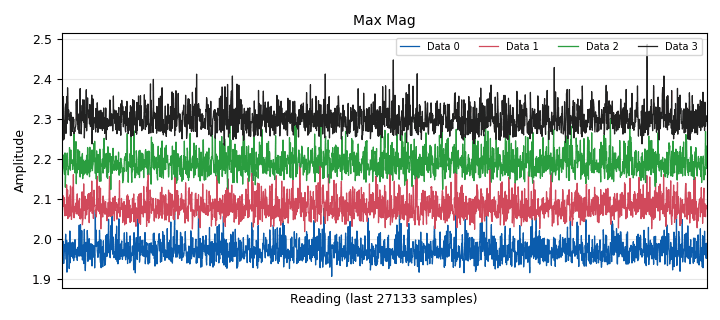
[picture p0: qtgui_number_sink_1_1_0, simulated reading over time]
options:
  parameters:
    generate_options: qt_gui
    id: run_mag_equalization_on_music_acc_4rx_2_source_eval
    output_language: python
    title: Magnitude equalization effects on accuracy of MUSIC algorithm 4 RX, 2 SRC
  states: {}

blocks:
- name: MAV_length
  id: variable
  parameters:
    value: int(1e7)
  states: {}
- name: NormSpacing
  id: variable
  parameters:
    value: '0.5'
  states: {}
- name: NumArrayElements
  id: variable
  parameters:
    value: '4'
  states: {}
- name: NumTargets
  id: variable
  parameters:
    value: '2'
  states: {}
- name: amv0
  id: variable
  parameters:
    value: numpy.exp(-1j*ant_locs*2*numpy.pi*numpy.cos(theta0))
  states: {}
- name: amv1
  id: variable
  parameters:
    value: numpy.exp(-1j*ant_locs*2*numpy.pi*numpy.cos(theta1))
  states: {}
- name: ant_locs
  id: variable
  parameters:
    value: numpy.dot(NormSpacing, numpy.arange(NumArrayElements/2, -NumArrayElements/2, -1) if (NumArrayElements%2==1) else numpy.arange(NumArrayElements/2-0.5, -NumArrayElements/2-0.5, -1))
  states: {}
- name: array_manifold_matrix
  id: variable
  parameters:
    value: numpy.array([amv0, amv1]).transpose()
  states: {}
- name: mag_diff_1
  id: variable_qtgui_range
  parameters:
    gui_hint: qtgui_tab_widget_0@0
    label: Node 1 mag
    min_len: '100'
    orient: Qt.Horizontal
    start: '0.5'
    step: '0.01'
    stop: '1.5'
    value: '0.9'
  states: {}
- name: mag_diff_2
  id: variable_qtgui_range
  parameters:
    gui_hint: qtgui_tab_widget_0@0
    label: Node 2 mag
    min_len: '100'
    orient: Qt.Horizontal
    start: '0.5'
    step: '0.01'
    stop: '1.5'
    value: '0.95'
  states: {}
- name: mag_diff_3
  id: variable_qtgui_range
  parameters:
    gui_hint: qtgui_tab_widget_0@0
    label: Node 3 mag
    min_len: '100'
    orient: Qt.Horizontal
    start: '0.5'
    step: '0.01'
    stop: '1.5'
    value: '1'
  states: {}
- name: mag_diff_4
  id: variable_qtgui_range
  parameters:
    gui_hint: qtgui_tab_widget_0@0
    label: Node 4 mag
    min_len: '100'
    orient: Qt.Horizontal
    start: '0.5'
    step: '0.01'
    stop: '1.5'
    value: '1.05'
  states: {}
- name: max_vec_s
  id: variable
  parameters:
    value: '2048'
  states: {}
- name: noise_ampl
  id: variable_qtgui_range
  parameters:
    gui_hint: qtgui_tab_widget_0@0
    label: Noise amplitude
    orient: Qt.Horizontal
    start: '0.01'
    step: '0.01'
    stop: '1'
    value: '0.1'
  states: {}
- name: samp_rate
  id: variable
  parameters:
    value: 1e6
  states: {}
- name: theta0
  id: variable
  parameters:
    value: numpy.pi*theta0_deg/180
  states: {}
- name: theta0_deg
  id: variable_qtgui_range
  parameters:
    gui_hint: qtgui_tab_widget_0@0
    label: AoA 1
    orient: Qt.Horizontal
    start: '0'
    step: '1'
    stop: '180'
    value: '87'
  states: {}
- name: theta1
  id: variable
  parameters:
    value: numpy.pi*theta1_deg/180
  states: {}
- name: theta1_deg
  id: variable_qtgui_range
  parameters:
    gui_hint: qtgui_tab_widget_0@0
    label: AoA 2
    orient: Qt.Horizontal
    start: '0'
    step: '1'
    stop: '180'
    value: '93'
  states: {}
- name: analog_const_source_x_0
  id: analog_const_source_x
  parameters:
    const: '0.0'
    type: float
  states: {}
- name: analog_noise_source_x_0
  id: analog_noise_source_x
  parameters:
    amp: noise_ampl
    noise_type: analog.GR_GAUSSIAN
    seed: '972353'
    type: complex
  states: {}
- name: analog_noise_source_x_1
  id: analog_noise_source_x
  parameters:
    amp: noise_ampl
    noise_type: analog.GR_GAUSSIAN
    seed: '3135154'
    type: complex
  states: {}
- name: analog_noise_source_x_1_0
  id: analog_noise_source_x
  parameters:
    amp: noise_ampl
    noise_type: analog.GR_GAUSSIAN
    seed: '55334'
    type: complex
  states: {}
- name: analog_noise_source_x_1_0_0
  id: analog_noise_source_x
  parameters:
    amp: noise_ampl
    noise_type: analog.GR_GAUSSIAN
    seed: '1242455334'
    type: complex
  states: {}
- name: analog_sig_source_x_0
  id: analog_sig_source_x
  parameters:
    amp: '1'
    freq: '10E+3'
    offset: '0'
    phase: '0'
    samp_rate: samp_rate
    type: complex
    waveform: analog.GR_COS_WAVE
  states: {}
- name: analog_sig_source_x_0_0
  id: analog_sig_source_x
  parameters:
    amp: '1'
    freq: '30E+3'
    offset: '0'
    phase: '0'
    samp_rate: samp_rate
    type: complex
    waveform: analog.GR_COS_WAVE
  states: {}
- name: aoa_MUSIC_lin_array_0
  id: aoa_MUSIC_lin_array
  parameters:
    norm_spacing: NormSpacing
    num_inputs: NumArrayElements
    num_targets: NumTargets
    pspectrum_len: '1024'
  states: {}
- name: aoa_MUSIC_lin_array_0_0
  id: aoa_MUSIC_lin_array
  parameters:
    norm_spacing: NormSpacing
    num_inputs: NumArrayElements
    num_targets: NumTargets
    pspectrum_len: '1024'
  states: {}
- name: aoa_autocorrelate_0
  id: aoa_autocorrelate
  parameters:
    avg_method: '0'
    num_inputs: '4'
    overlap_size: '512'
    snapshot_size: '1024'
  states: {}
- name: aoa_autocorrelate_0_0
  id: aoa_autocorrelate
  parameters:
    avg_method: '0'
    num_inputs: '4'
    overlap_size: '512'
    snapshot_size: '1024'
  states: {}
- name: aoa_precise_moving_average_0
  id: aoa_precise_moving_average
  parameters:
    length: MAV_length
    max_iter: MAV_length
  states: {}
- name: aoa_precise_moving_average_0_0
  id: aoa_precise_moving_average
  parameters:
    length: MAV_length
    max_iter: MAV_length
  states: {}
- name: aoa_precise_moving_average_0_0_0
  id: aoa_precise_moving_average
  parameters:
    length: MAV_length
    max_iter: MAV_length
  states: {}
- name: aoa_precise_moving_average_0_0_0_0
  id: aoa_precise_moving_average
  parameters:
    length: MAV_length
    max_iter: MAV_length
  states: {}
- name: aoa_rootMUSIC_linear_array_0
  id: aoa_rootMUSIC_linear_array
  parameters:
    norm_spacing: NormSpacing
    num_inputs: NumArrayElements
    num_targets: NumTargets
  states: {}
- name: aoa_rootMUSIC_linear_array_0_0
  id: aoa_rootMUSIC_linear_array
  parameters:
    norm_spacing: NormSpacing
    num_inputs: NumArrayElements
    num_targets: NumTargets
  states: {}
- name: blocks_add_const_vxx_0
  id: blocks_add_const_vxx
  parameters:
    const: '-theta0_deg'
    type: float
  states: {}
- name: blocks_add_const_vxx_0_0
  id: blocks_add_const_vxx
  parameters:
    const: '-theta1_deg'
    type: float
  states: {}
- name: blocks_add_const_vxx_0_0_0
  id: blocks_add_const_vxx
  parameters:
    const: '-theta1_deg'
    type: float
  states: {}
- name: blocks_add_const_vxx_0_1
  id: blocks_add_const_vxx
  parameters:
    const: '-theta0_deg'
    type: float
  states: {}
- name: blocks_add_xx_0
  id: blocks_add_xx
  parameters:
    type: complex
  states: {}
- name: blocks_add_xx_0_0
  id: blocks_add_xx
  parameters:
    type: complex
  states: {}
- name: blocks_add_xx_0_0_0
  id: blocks_add_xx
  parameters:
    type: complex
  states: {}
- name: blocks_add_xx_0_0_0_0
  id: blocks_add_xx
  parameters:
    type: complex
  states: {}
- name: blocks_complex_to_mag_0
  id: blocks_complex_to_mag
  parameters: {}
  states: {}
- name: blocks_complex_to_mag_0_0
  id: blocks_complex_to_mag
  parameters: {}
  states: {}
- name: blocks_complex_to_mag_0_0_0
  id: blocks_complex_to_mag
  parameters: {}
  states: {}
- name: blocks_complex_to_mag_0_0_0_0
  id: blocks_complex_to_mag
  parameters: {}
  states: {}
- name: blocks_complex_to_mag_0_0_0_0_1
  id: blocks_complex_to_mag
  parameters: {}
  states: {}
- name: blocks_complex_to_mag_0_0_0_2
  id: blocks_complex_to_mag
  parameters: {}
  states: {}
- name: blocks_complex_to_mag_0_0_2
  id: blocks_complex_to_mag
  parameters: {}
  states: {}
- name: blocks_complex_to_mag_0_2
  id: blocks_complex_to_mag
  parameters: {}
  states: {}
- name: blocks_deinterleave_0
  id: blocks_deinterleave
  parameters:
    type: float
  states: {}
- name: blocks_deinterleave_0_0
  id: blocks_deinterleave
  parameters:
    type: float
  states: {}
- name: blocks_divide_xx_0
  id: blocks_divide_xx
  parameters:
    type: float
  states: {}
- name: blocks_divide_xx_0_0
  id: blocks_divide_xx
  parameters:
    type: float
  states: {}
- name: blocks_divide_xx_0_0_0
  id: blocks_divide_xx
  parameters:
    type: float
  states: {}
- name: blocks_divide_xx_0_0_0_0
  id: blocks_divide_xx
  parameters:
    type: float
  states: {}
- name: blocks_float_to_complex_0
  id: blocks_float_to_complex
  parameters: {}
  states: {}
- name: blocks_float_to_complex_0_0
  id: blocks_float_to_complex
  parameters: {}
  states: {}
- name: blocks_float_to_complex_0_0_0
  id: blocks_float_to_complex
  parameters: {}
  states: {}
- name: blocks_float_to_complex_0_0_0_0
  id: blocks_float_to_complex
  parameters: {}
  states: {}
- name: blocks_max_xx_0
  id: blocks_max_xx
  parameters:
    num_inputs: '4'
    type: float
  states: {}
- name: blocks_max_xx_1
  id: blocks_max_xx
  parameters:
    type: float
    vlen: max_vec_s
    vlen_out: '1'
  states: {}
- name: blocks_max_xx_1_0
  id: blocks_max_xx
  parameters:
    type: float
    vlen: max_vec_s
    vlen_out: '1'
  states: {}
- name: blocks_max_xx_1_0_0
  id: blocks_max_xx
  parameters:
    type: float
    vlen: max_vec_s
    vlen_out: '1'
  states: {}
- name: blocks_max_xx_1_0_0_0
  id: blocks_max_xx
  parameters:
    type: float
    vlen: max_vec_s
    vlen_out: '1'
  states: {}
- name: blocks_multiply_const_vxx_0
  id: blocks_multiply_const_vxx
  parameters:
    const: mag_diff_1
    type: complex
  states: {}
- name: blocks_multiply_const_vxx_0_0_0
  id: blocks_multiply_const_vxx
  parameters:
    const: mag_diff_4
    type: complex
  states: {}
- name: blocks_multiply_const_vxx_0_0_0_0
  id: blocks_multiply_const_vxx
  parameters:
    const: mag_diff_2
    type: complex
  states: {}
- name: blocks_multiply_const_vxx_0_0_0_0_0
  id: blocks_multiply_const_vxx
  parameters:
    const: mag_diff_3
    type: complex
  states: {}
- name: blocks_multiply_matrix_xx_0
  id: blocks_multiply_matrix_xx
  parameters:
    A: array_manifold_matrix
    tag_propagation_policy: gr.TPP_ALL_TO_ALL
    type: complex
  states: {}
- name: blocks_multiply_xx_0
  id: blocks_multiply_xx
  parameters:
    type: complex
  states: {}
- name: blocks_multiply_xx_0_0
  id: blocks_multiply_xx
  parameters:
    type: complex
  states: {}
- name: blocks_multiply_xx_0_0_0
  id: blocks_multiply_xx
  parameters:
    type: complex
  states: {}
- name: blocks_multiply_xx_0_0_0_0
  id: blocks_multiply_xx
  parameters:
    type: complex
  states: {}
- name: blocks_repeat_0
  id: blocks_repeat
  parameters:
    interp: max_vec_s
    type: float
  states: {}
- name: blocks_repeat_0_0
  id: blocks_repeat
  parameters:
    interp: max_vec_s
    type: float
  states: {}
- name: blocks_repeat_0_0_0
  id: blocks_repeat
  parameters:
    interp: max_vec_s
    type: float
  states: {}
- name: blocks_repeat_0_0_0_0
  id: blocks_repeat
  parameters:
    interp: max_vec_s
    type: float
  states: {}
- name: blocks_stream_to_vector_0
  id: blocks_stream_to_vector
  parameters:
    num_items: max_vec_s
    type: float
  states: {}
- name: blocks_stream_to_vector_0_0
  id: blocks_stream_to_vector
  parameters:
    num_items: max_vec_s
    type: float
  states: {}
- name: blocks_stream_to_vector_0_0_0_0
  id: blocks_stream_to_vector
  parameters:
    num_items: max_vec_s
    type: float
  states: {}
- name: blocks_stream_to_vector_0_0_0_0_0
  id: blocks_stream_to_vector
  parameters:
    num_items: max_vec_s
    type: float
  states: {}
- name: blocks_throttle_0_0
  id: blocks_throttle
  parameters:
    samples_per_second: samp_rate
    type: complex
  states: {}
- name: blocks_throttle_0_0_0
  id: blocks_throttle
  parameters:
    samples_per_second: samp_rate
    type: complex
  states: {}
- name: blocks_vector_to_stream_0
  id: blocks_vector_to_stream
  parameters:
    type: float
  states: {}
- name: blocks_vector_to_stream_0_0
  id: blocks_vector_to_stream
  parameters:
    type: float
  states: {}
- name: import_0
  id: import
  parameters:
    imports: import numpy
  states: {}
- name: qtgui_histogram_sink_x_0
  id: qtgui_histogram_sink_x
  parameters:
    autoscale: 'False'
    bins: '100'
    grid: 'True'
    gui_hint: qtgui_tab_widget_0@1:0,0,1,1
    label1: Without mag correction
    label2: With mag correction
    name: '"AoA1 Error"'
    nconnections: '2'
    size: 1024*4
    type: float
    xmax: '3'
    xmin: '-3'
  states: {}
- name: qtgui_histogram_sink_x_0_1
  id: qtgui_histogram_sink_x
  parameters:
    autoscale: 'False'
    bins: '100'
    grid: 'True'
    gui_hint: qtgui_tab_widget_0@1:0,1,1,1
    label1: Without mag correction
    label2: With mag correction
    name: '"AoA2 Error"'
    nconnections: '2'
    size: 1024*4
    type: float
    xmax: '3'
    xmin: '-3'
  states: {}
- name: qtgui_number_sink_0
  id: qtgui_number_sink
  parameters:
    graph_type: qtgui.NUM_GRAPH_HORIZ
    gui_hint: qtgui_tab_widget_0@1:1,1,1,1
    label1: AoA1 before mag corr
    label2: AoA1 after mag corr
    label3: AoA2 before mag corr
    label4: AoA2 after mag corr
    max: '180'
    min: '0'
    name: '"AoA"'
    nconnections: '4'
    type: float
  states: {}
- name: qtgui_number_sink_1_1
  id: qtgui_number_sink
  parameters:
    graph_type: qtgui.NUM_GRAPH_HORIZ
    gui_hint: qtgui_tab_widget_0@0
    max: '3.0'
    min: '0.5'
    name: '"Mag"'
    nconnections: '4'
    type: float
  states: {}
- name: qtgui_number_sink_1_1_0
  id: qtgui_number_sink
  parameters:
    graph_type: qtgui.NUM_GRAPH_HORIZ
    gui_hint: qtgui_tab_widget_0@0
    max: '3.0'
    min: '0.5'
    name: '"Max Mag"'
    nconnections: '4'
    type: float
  states: {}
- name: qtgui_number_sink_1_1_1
  id: qtgui_number_sink
  parameters:
    graph_type: qtgui.NUM_GRAPH_HORIZ
    gui_hint: qtgui_tab_widget_0@1:1,0,1,1
    label1: AoA1 before correction
    label2: AoA1 after correction
    label3: AoA2 before correction
    label4: AoA2 after correction
    max: '5'
    min: '-5'
    name: '"Error"'
    nconnections: '4'
    type: float
  states: {}
- name: qtgui_tab_widget_0
  id: qtgui_tab_widget
  parameters:
    gui_hint: 0,0,1,1
    label0: Settings
    label1: Error histogram
    num_tabs: '2'
  states: {}
- name: qtgui_time_sink_x_0
  id: qtgui_time_sink_x
  parameters:
    autoscale: 'True'
    gui_hint: qtgui_tab_widget_0@0
    name: '"Mag after correction"'
    nconnections: '4'
    size: '1024'
    srate: samp_rate
    type: float
  states: {}
- name: qtgui_vector_sink_f_0
  id: qtgui_vector_sink_f
  parameters:
    grid: 'True'
    label1: Before mag corr
    label2: After mag corr
    name: '"MUSIC Pspectrum"'
    nconnections: '2'
    update_time: '0.5'
    vlen: '1024'
    x_axis_label: '"Angle"'
    x_start: '0'
    x_step: 180/1024
    y_axis_label: '"Pspectrum"'
    ymin: '-80'
  states: {}

connections:
- [analog_const_source_x_0, '0', blocks_float_to_complex_0, '1']
- [analog_const_source_x_0, '0', blocks_float_to_complex_0_0, '1']
- [analog_const_source_x_0, '0', blocks_float_to_complex_0_0_0, '1']
- [analog_const_source_x_0, '0', blocks_float_to_complex_0_0_0_0, '1']
- [analog_noise_source_x_0, '0', blocks_add_xx_0_0_0, '1']
- [analog_noise_source_x_1, '0', blocks_add_xx_0_0_0_0, '1']
- [analog_noise_source_x_1_0, '0', blocks_add_xx_0_0, '1']
- [analog_noise_source_x_1_0_0, '0', blocks_add_xx_0, '1']
- [analog_sig_source_x_0, '0', blocks_throttle_0_0, '0']
- [analog_sig_source_x_0_0, '0', blocks_throttle_0_0_0, '0']
- [aoa_MUSIC_lin_array_0, '0', qtgui_vector_sink_f_0, '0']
- [aoa_MUSIC_lin_array_0_0, '0', qtgui_vector_sink_f_0, '1']
- [aoa_autocorrelate_0, '0', aoa_MUSIC_lin_array_0, '0']
- [aoa_autocorrelate_0, '0', aoa_rootMUSIC_linear_array_0, '0']
- [aoa_autocorrelate_0_0, '0', aoa_MUSIC_lin_array_0_0, '0']
- [aoa_autocorrelate_0_0, '0', aoa_rootMUSIC_linear_array_0_0, '0']
- [aoa_precise_moving_average_0, '0', blocks_divide_xx_0_0, '1']
- [aoa_precise_moving_average_0, '0', blocks_max_xx_0, '2']
- [aoa_precise_moving_average_0, '0', qtgui_number_sink_1_1, '2']
- [aoa_precise_moving_average_0_0, '0', blocks_divide_xx_0_0_0, '1']
- [aoa_precise_moving_average_0_0, '0', blocks_max_xx_0, '3']
- [aoa_precise_moving_average_0_0, '0', qtgui_number_sink_1_1, '3']
- [aoa_precise_moving_average_0_0_0, '0', blocks_divide_xx_0, '1']
- [aoa_precise_moving_average_0_0_0, '0', blocks_max_xx_0, '0']
- [aoa_precise_moving_average_0_0_0, '0', qtgui_number_sink_1_1, '0']
- [aoa_precise_moving_average_0_0_0_0, '0', blocks_divide_xx_0_0_0_0, '1']
- [aoa_precise_moving_average_0_0_0_0, '0', blocks_max_xx_0, '1']
- [aoa_precise_moving_average_0_0_0_0, '0', qtgui_number_sink_1_1, '1']
- [aoa_rootMUSIC_linear_array_0, '0', blocks_vector_to_stream_0, '0']
- [aoa_rootMUSIC_linear_array_0_0, '0', blocks_vector_to_stream_0_0, '0']
- [blocks_add_const_vxx_0, '0', qtgui_histogram_sink_x_0, '0']
- [blocks_add_const_vxx_0, '0', qtgui_number_sink_1_1_1, '0']
- [blocks_add_const_vxx_0_0, '0', qtgui_histogram_sink_x_0_1, '0']
- [blocks_add_const_vxx_0_0, '0', qtgui_number_sink_1_1_1, '2']
- [blocks_add_const_vxx_0_0_0, '0', qtgui_histogram_sink_x_0_1, '1']
- [blocks_add_const_vxx_0_0_0, '0', qtgui_number_sink_1_1_1, '3']
- [blocks_add_const_vxx_0_1, '0', qtgui_histogram_sink_x_0, '1']
- [blocks_add_const_vxx_0_1, '0', qtgui_number_sink_1_1_1, '1']
- [blocks_add_xx_0, '0', blocks_multiply_const_vxx_0_0_0, '0']
- [blocks_add_xx_0_0, '0', blocks_multiply_const_vxx_0_0_0_0_0, '0']
- [blocks_add_xx_0_0_0, '0', blocks_multiply_const_vxx_0, '0']
- [blocks_add_xx_0_0_0_0, '0', blocks_multiply_const_vxx_0_0_0_0, '0']
- [blocks_complex_to_mag_0, '0', blocks_stream_to_vector_0, '0']
- [blocks_complex_to_mag_0_0, '0', blocks_stream_to_vector_0_0, '0']
- [blocks_complex_to_mag_0_0_0, '0', blocks_stream_to_vector_0_0_0_0_0, '0']
- [blocks_complex_to_mag_0_0_0_0, '0', blocks_stream_to_vector_0_0_0_0, '0']
- [blocks_complex_to_mag_0_0_0_0_1, '0', qtgui_time_sink_x_0, '2']
- [blocks_complex_to_mag_0_0_0_2, '0', qtgui_time_sink_x_0, '3']
- [blocks_complex_to_mag_0_0_2, '0', qtgui_time_sink_x_0, '1']
- [blocks_complex_to_mag_0_2, '0', qtgui_time_sink_x_0, '0']
- [blocks_deinterleave_0, '0', blocks_add_const_vxx_0, '0']
- [blocks_deinterleave_0, '0', qtgui_number_sink_0, '0']
- [blocks_deinterleave_0, '1', blocks_add_const_vxx_0_0, '0']
- [blocks_deinterleave_0, '1', qtgui_number_sink_0, '2']
- [blocks_deinterleave_0_0, '0', blocks_add_const_vxx_0_1, '0']
- [blocks_deinterleave_0_0, '0', qtgui_number_sink_0, '1']
- [blocks_deinterleave_0_0, '1', blocks_add_const_vxx_0_0_0, '0']
- [blocks_deinterleave_0_0, '1', qtgui_number_sink_0, '3']
- [blocks_divide_xx_0, '0', blocks_float_to_complex_0, '0']
- [blocks_divide_xx_0_0, '0', blocks_float_to_complex_0_0_0, '0']
- [blocks_divide_xx_0_0_0, '0', blocks_float_to_complex_0_0_0_0, '0']
- [blocks_divide_xx_0_0_0_0, '0', blocks_float_to_complex_0_0, '0']
- [blocks_float_to_complex_0, '0', blocks_multiply_xx_0, '1']
- [blocks_float_to_complex_0_0, '0', blocks_multiply_xx_0_0, '1']
- [blocks_float_to_complex_0_0_0, '0', blocks_multiply_xx_0_0_0, '1']
- [blocks_float_to_complex_0_0_0_0, '0', blocks_multiply_xx_0_0_0_0, '1']
- [blocks_max_xx_0, '0', blocks_divide_xx_0, '0']
- [blocks_max_xx_0, '0', blocks_divide_xx_0_0, '0']
- [blocks_max_xx_0, '0', blocks_divide_xx_0_0_0, '0']
- [blocks_max_xx_0, '0', blocks_divide_xx_0_0_0_0, '0']
- [blocks_max_xx_1, '0', blocks_repeat_0, '0']
- [blocks_max_xx_1, '0', qtgui_number_sink_1_1_0, '0']
- [blocks_max_xx_1_0, '0', blocks_repeat_0_0, '0']
- [blocks_max_xx_1_0, '0', qtgui_number_sink_1_1_0, '1']
- [blocks_max_xx_1_0_0, '0', blocks_repeat_0_0_0, '0']
- [blocks_max_xx_1_0_0, '0', qtgui_number_sink_1_1_0, '2']
- [blocks_max_xx_1_0_0_0, '0', blocks_repeat_0_0_0_0, '0']
- [blocks_max_xx_1_0_0_0, '0', qtgui_number_sink_1_1_0, '3']
- [blocks_multiply_const_vxx_0, '0', aoa_autocorrelate_0, '0']
- [blocks_multiply_const_vxx_0, '0', blocks_complex_to_mag_0, '0']
- [blocks_multiply_const_vxx_0, '0', blocks_multiply_xx_0, '0']
- [blocks_multiply_const_vxx_0_0_0, '0', aoa_autocorrelate_0, '3']
- [blocks_multiply_const_vxx_0_0_0, '0', blocks_complex_to_mag_0_0_0, '0']
- [blocks_multiply_const_vxx_0_0_0, '0', blocks_multiply_xx_0_0_0_0, '0']
- [blocks_multiply_const_vxx_0_0_0_0, '0', aoa_autocorrelate_0, '1']
- [blocks_multiply_const_vxx_0_0_0_0, '0', blocks_complex_to_mag_0_0, '0']
- [blocks_multiply_const_vxx_0_0_0_0, '0', blocks_multiply_xx_0_0, '0']
- [blocks_multiply_const_vxx_0_0_0_0_0, '0', aoa_autocorrelate_0, '2']
- [blocks_multiply_const_vxx_0_0_0_0_0, '0', blocks_complex_to_mag_0_0_0_0, '0']
- [blocks_multiply_const_vxx_0_0_0_0_0, '0', blocks_multiply_xx_0_0_0, '0']
- [blocks_multiply_matrix_xx_0, '0', blocks_add_xx_0_0_0, '0']
- [blocks_multiply_matrix_xx_0, '1', blocks_add_xx_0_0_0_0, '0']
- [blocks_multiply_matrix_xx_0, '2', blocks_add_xx_0_0, '0']
- [blocks_multiply_matrix_xx_0, '3', blocks_add_xx_0, '0']
- [blocks_multiply_xx_0, '0', aoa_autocorrelate_0_0, '0']
- [blocks_multiply_xx_0, '0', blocks_complex_to_mag_0_2, '0']
- [blocks_multiply_xx_0_0, '0', aoa_autocorrelate_0_0, '1']
- [blocks_multiply_xx_0_0, '0', blocks_complex_to_mag_0_0_2, '0']
- [blocks_multiply_xx_0_0_0, '0', aoa_autocorrelate_0_0, '2']
- [blocks_multiply_xx_0_0_0, '0', blocks_complex_to_mag_0_0_0_0_1, '0']
- [blocks_multiply_xx_0_0_0_0, '0', aoa_autocorrelate_0_0, '3']
- [blocks_multiply_xx_0_0_0_0, '0', blocks_complex_to_mag_0_0_0_2, '0']
- [blocks_repeat_0, '0', aoa_precise_moving_average_0_0_0, '0']
- [blocks_repeat_0_0, '0', aoa_precise_moving_average_0_0_0_0, '0']
- [blocks_repeat_0_0_0, '0', aoa_precise_moving_average_0, '0']
- [blocks_repeat_0_0_0_0, '0', aoa_precise_moving_average_0_0, '0']
- [blocks_stream_to_vector_0, '0', blocks_max_xx_1, '0']
- [blocks_stream_to_vector_0_0, '0', blocks_max_xx_1_0, '0']
- [blocks_stream_to_vector_0_0_0_0, '0', blocks_max_xx_1_0_0, '0']
- [blocks_stream_to_vector_0_0_0_0_0, '0', blocks_max_xx_1_0_0_0, '0']
- [blocks_throttle_0_0, '0', blocks_multiply_matrix_xx_0, '0']
- [blocks_throttle_0_0_0, '0', blocks_multiply_matrix_xx_0, '1']
- [blocks_vector_to_stream_0, '0', blocks_deinterleave_0, '0']
- [blocks_vector_to_stream_0_0, '0', blocks_deinterleave_0_0, '0']

metadata:
  file_format: 1
